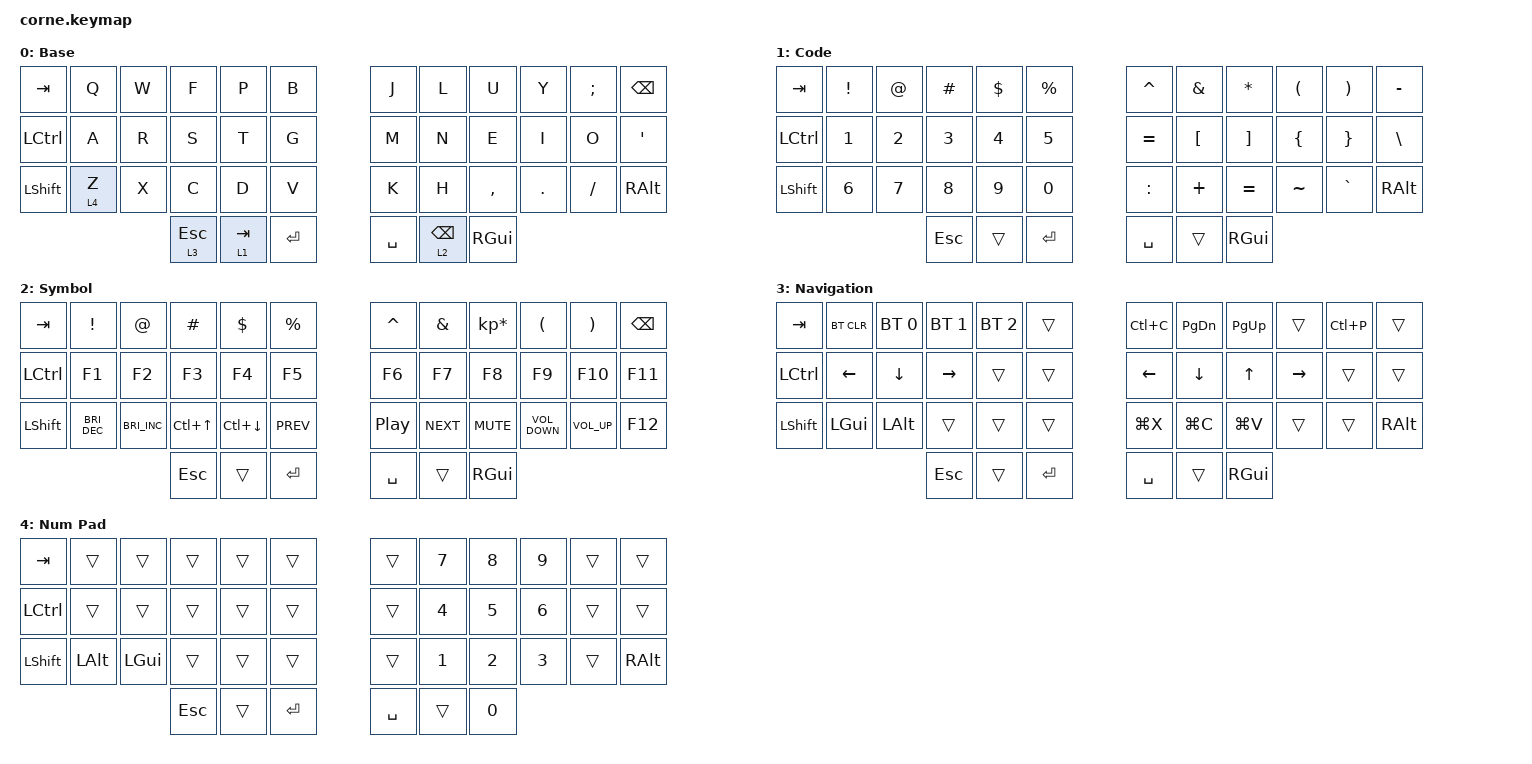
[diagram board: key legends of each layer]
/*
 * Copyright (c) 2020 The ZMK Contributors
 *
 * SPDX-License-Identifier: MIT
 */

#include <behaviors.dtsi>
#include <dt-bindings/zmk/bt.h>
#include <dt-bindings/zmk/keys.h>

/ {
    keymap {
        compatible = "zmk,keymap";

        default_layer {
            // -----------------------------------------------------------------------------------------
            // |  TAB |  Q  |  W  |  E  |  R  |  T  |   |  Y  |  U   |  I  |  O  |  P  | BKSP |
            // | CTRL |  A  |  S  |  D  |  F  |  G  |   |  H  |  J   |  K  |  L  |  ;  |  '   |
            // | SHFT |  Z  |  X  |  C  |  V  |  B  |   |  N  |  M   |  ,  |  .  |  /  | ESC  |
            //                    | GUI | LWR | SPC |   | ENT | RSE  | ALT |

            label = "Base";
            bindings = <
&kp TAB    &kp Q    &kp W  &kp F         &kp P      &kp B         &kp J      &kp L       &kp U      &kp Y    &kp SEMICOLON  &kp BSPC
&kp LCTRL  &kp A    &kp R  &kp S         &kp T      &kp G         &kp M      &kp N       &kp E      &kp I    &kp O          &kp SQT
&kp LSHFT  &lt 4 Z  &kp X  &kp C         &kp D      &kp V         &kp K      &kp H       &kp COMMA  &kp DOT  &kp FSLH       &kp RALT
                           &lt 3 ESCAPE  &lt 1 TAB  &kp RETURN    &kp SPACE  &lt 2 BSPC  &kp RGUI
            >;
        };

        lower_layer {
            // -----------------------------------------------------------------------------------------
            // |  TAB |  1  |  2  |  3  |  4  |  5  |   |  6  |  7  |  8  |  9  |  0  | BKSP |
            // | BTCLR| BT1 | BT2 | BT3 | BT4 | BT5 |   | LFT | DWN |  UP | RGT |     |      |
            // | SHFT |     |     |     |     |     |   |     |     |     |     |     |      |
            //                    | GUI |     | SPC |   | ENT |     | ALT |

            label = "Code";
            bindings = <
&kp TAB    &kp EXCL  &kp AT  &kp POUND   &kp DLLR  &kp PRCNT     &kp CARET  &kp AMPS  &kp ASTRK      &kp LPAR   &kp RPAR   &kp MINUS
&kp LCTRL  &kp N1    &kp N2  &kp N3      &kp N4    &kp N5        &kp EQUAL  &kp LBKT  &kp RBKT       &kp LBRC   &kp RBRC   &kp BSLH
&kp LSHFT  &kp N6    &kp N7  &kp N8      &kp N9    &kp N0        &kp COLON  &kp PLUS  &kp EQUAL      &kp TILDE  &kp GRAVE  &kp RALT
                             &kp ESCAPE  &trans    &kp RETURN    &kp SPACE  &trans    &kp RIGHT_GUI
            >;
        };

        raise_layer {
            // -----------------------------------------------------------------------------------------
            // |  TAB |  !  |  @  |  #  |  $  |  %  |   |  ^  |  &  |  *  |  (  |  )  | BKSP |
            // | CTRL |     |     |     |     |     |   |  -  |  =  |  [  |  ]  |  \  |  `   |
            // | SHFT |     |     |     |     |     |   |  _  |  +  |  {  |  }  | "|" |  ~   |
            //                    | GUI |     | SPC |   | ENT |     | ALT |

            label = "Symbol";
            bindings = <
&kp TAB    &kp EXCL              &kp AT                &kp HASH          &kp DLLR      &kp PRCNT     &kp CARET         &kp AMPS    &kp KP_MULTIPLY  &kp LPAR           &kp RPAR         &kp BSPC
&kp LCTRL  &kp F1                &kp F2                &kp F3            &kp F4        &kp F5        &kp F6            &kp F7      &kp F8           &kp F9             &kp F10          &kp F11
&kp LSHFT  &kp C_BRIGHTNESS_DEC  &kp C_BRIGHTNESS_INC  &kp LC(UP_ARROW)  &kp LC(DOWN)  &kp C_PREV    &kp C_PLAY_PAUSE  &kp C_NEXT  &kp C_MUTE       &kp C_VOLUME_DOWN  &kp C_VOLUME_UP  &kp F12
                                                       &kp ESC           &trans        &kp RETURN    &kp SPACE         &trans      &kp RIGHT_GUI
            >;
        };

        layer_3 {
            label = "Navigation";
            bindings = <
&kp TAB     &bt BT_CLR      &bt BT_SEL 0  &bt BT_SEL 1  &bt BT_SEL 2  &trans       &kp LC(C)  &kp PG_DN  &kp PG_UP      &trans     &kp LC(P)  &trans
&kp LCTRL   &kp LEFT_ARROW  &kp DOWN      &kp RIGHT     &trans        &trans       &kp LEFT   &kp DOWN   &kp UP         &kp RIGHT  &trans     &trans
&kp LSHIFT  &kp LEFT_GUI    &kp LALT      &trans        &trans        &trans       &kp LG(X)  &kp LG(C)  &kp LG(V)      &trans     &trans     &kp RALT
                                          &kp ESC       &trans        &kp ENTER    &kp SPACE  &trans     &kp RIGHT_GUI
            >;
        };

        layer_4 {
            label = "Num Pad";
            bindings = <
&kp TAB    &trans    &trans        &trans   &trans  &trans       &trans     &kp N7  &kp N8  &kp N9  &trans  &trans
&kp LCTRL  &trans    &trans        &trans   &trans  &trans       &trans     &kp N4  &kp N5  &kp N6  &trans  &trans
&kp LSHFT  &kp LALT  &kp LEFT_GUI  &trans   &trans  &trans       &trans     &kp N1  &kp N2  &kp N3  &trans  &kp RALT
                                   &kp ESC  &trans  &kp ENTER    &kp SPACE  &trans  &kp N0
            >;
        };
    };
};
